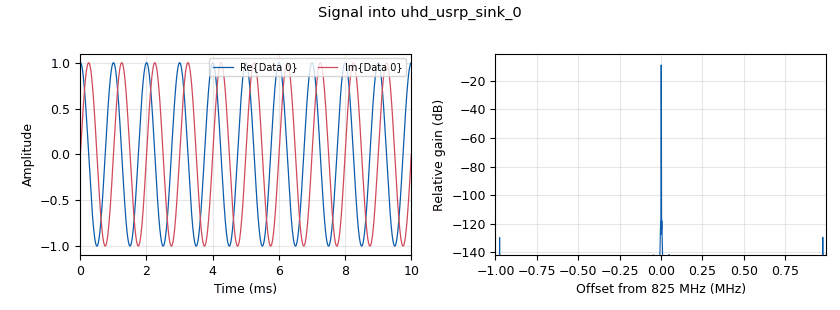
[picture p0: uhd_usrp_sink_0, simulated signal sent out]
<?xml version='1.0' encoding='utf-8'?>
<?grc format='1' created='3.7.12'?>
<flow_graph>
<block>
<key>options</key>
<param><key>id</key><value>top_block</value></param>
<param><key>generate_options</key><value>qt_gui</value></param>
</block>
<block>
<key>variable_qtgui_range</key>
<param><key>id</key><value>freq_receive</value></param>
<param><key>value</key><value>825.5e6</value></param>
<param><key>orient</key><value>Qt.Horizontal</value></param>
<param><key>start</key><value>824e6</value></param>
<param><key>step</key><value>1000</value></param>
<param><key>stop</key><value>826e6</value></param>
</block>
<block>
<key>variable_qtgui_range</key>
<param><key>id</key><value>freq_send</value></param>
<param><key>value</key><value>825e6</value></param>
<param><key>orient</key><value>Qt.Horizontal</value></param>
<param><key>start</key><value>824e6</value></param>
<param><key>step</key><value>1</value></param>
<param><key>stop</key><value>826e6</value></param>
</block>
<block>
<key>variable</key>
<param><key>id</key><value>samp_rate</value></param>
<param><key>value</key><value>2e6</value></param>
</block>
<block>
<key>analog_sig_source_x</key>
<param><key>id</key><value>analog_sig_source_x_0</value></param>
<param><key>amp</key><value>1</value></param>
<param><key>freq</key><value>1000</value></param>
<param><key>offset</key><value>0</value></param>
<param><key>type</key><value>complex</value></param>
<param><key>samp_rate</key><value>samp_rate</value></param>
<param><key>waveform</key><value>analog.GR_COS_WAVE</value></param>
</block>
<block>
<key>blocks_file_meta_sink</key>
<param><key>id</key><value>blocks_file_meta_sink_0</value></param>
<param><key>detached</key><value>False</value></param>
<param><key>extra_dict</key><value>""</value></param>
<param><key>file</key><value>/Users/arvidbjurklint/Google Drive/Kandidatarbete-Software defined radio/GNUradio/Send and receive/received signal.txt</value></param>
<param><key>type</key><value>complex</value></param>
<param><key>max_seg_size</key><value>1000000</value></param>
<param><key>rel_rate</key><value>1</value></param>
<param><key>samp_rate</key><value>5</value></param>
</block>
<block>
<key>qtgui_freq_sink_x</key>
<param><key>id</key><value>qtgui_freq_sink_x_0</value></param>
<param><key>bw</key><value>samp_rate</value></param>
<param><key>fc</key><value>freq_receive</value></param>
<param><key>ctrlpanel</key><value>True</value></param>
<param><key>fftsize</key><value>1024</value></param>
<param><key>showports</key><value>True</value></param>
<param><key>type</key><value>complex</value></param>
<param><key>wintype</key><value>firdes.WIN_BLACKMAN_hARRIS</value></param>
</block>
<block>
<key>uhd_usrp_sink</key>
<param><key>id</key><value>uhd_usrp_sink_0</value></param>
<param><key>ant0</key><value>TX/RX</value></param>
<param><key>center_freq0</key><value>freq_send</value></param>
<param><key>norm_gain0</key><value>False</value></param>
<param><key>gain0</key><value>-1</value></param>
<param><key>clock_rate</key><value>0.0</value></param>
<param><key>dev_args</key><value>""</value></param>
<param><key>type</key><value>fc32</value></param>
<param><key>samp_rate</key><value>samp_rate</value></param>
<param><key>hide_cmd_port</key><value>False</value></param>
<param><key>hide_lo_controls</key><value>True</value></param>
<param><key>sync</key><value></value></param>
<param><key>len_tag_name</key><value></value></param>
</block>
<block>
<key>uhd_usrp_source</key>
<param><key>id</key><value>uhd_usrp_source_0</value></param>
<param><key>ant0</key><value>RX2</value></param>
<param><key>center_freq0</key><value>freq_receive</value></param>
<param><key>dc_offs_enb0</key><value>""</value></param>
<param><key>iq_imbal_enb0</key><value>""</value></param>
<param><key>norm_gain0</key><value>False</value></param>
<param><key>gain0</key><value>0</value></param>
<param><key>clock_rate</key><value>0.0</value></param>
<param><key>dev_args</key><value>""</value></param>
<param><key>type</key><value>fc32</value></param>
<param><key>samp_rate</key><value>5</value></param>
<param><key>hide_cmd_port</key><value>False</value></param>
<param><key>hide_lo_controls</key><value>True</value></param>
<param><key>sync</key><value></value></param>
</block>
<connection><source_block_id>analog_sig_source_x_0</source_block_id><sink_block_id>uhd_usrp_sink_0</sink_block_id><source_key>0</source_key><sink_key>0</sink_key></connection>
<connection><source_block_id>uhd_usrp_source_0</source_block_id><sink_block_id>blocks_file_meta_sink_0</sink_block_id><source_key>0</source_key><sink_key>0</sink_key></connection>
<connection><source_block_id>uhd_usrp_source_0</source_block_id><sink_block_id>qtgui_freq_sink_x_0</sink_block_id><source_key>0</source_key><sink_key>0</sink_key></connection>
</flow_graph>
